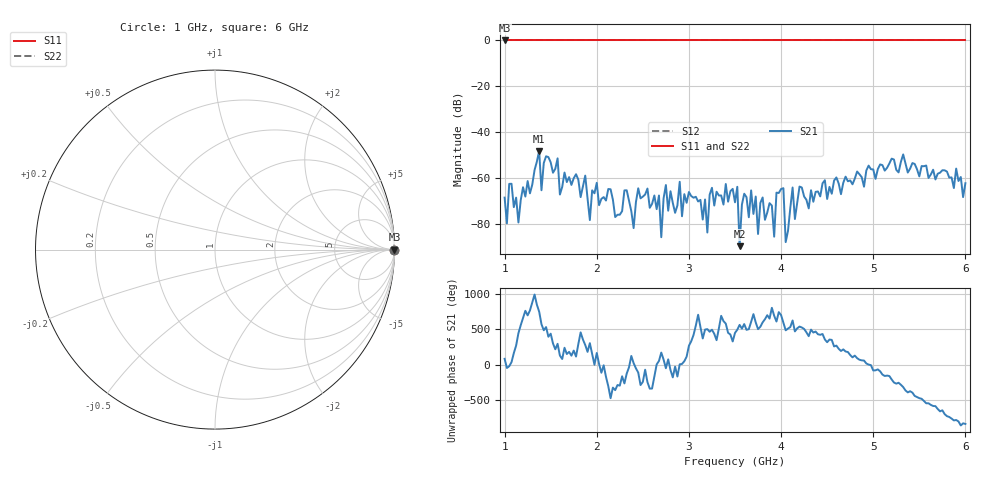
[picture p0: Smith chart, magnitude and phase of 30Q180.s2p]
!Keysight Technologies N9926A: A.08.19
!Date: Sunday, 01 March 2026 14:38:00
!Timezone: (GMT-06:00) Central Time (US & Canada)
!Model: N9926A
!Serial: MY53102721
!GPS Latitude:
!GPS Longitude:
!GPS TimeStamp: 0001-01-01 00:00:00Z
!GPS Seconds Since Last Read: 0
!CHECKSUM:1579449515
!Correction: S11()S21(ON U)S12()S22()
!S2P File: Measurements:S11,S21,S12,S22:
# Hz S DB R 50
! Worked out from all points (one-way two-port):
!   201 points, 1 GHz to 6 GHz, reference 50 ohm
!   highest |S21| = -48.06 dB at 1.375 GHz (marker M1); lowest = -89.5 dB at 3.55 GHz (marker M2)
!   lowest |S11| = 0.0 dB at 1 GHz (marker M3)
!   |S11| at or under -10 dB: nowhere
!   |S22| runs from 0.0 to 0.0 dB; largest |S21 - S12| = 1
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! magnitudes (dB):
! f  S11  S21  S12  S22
! 1 GHz  0.0  -68.4  0.0  0.0
! 1.15 GHz  0.0  -79.2  0.0  0.0
! 1.375 GHz  0.0  -48.1  0.0  0.0
! 1.4 GHz  0.0  -65.2  0.0  0.0
! 1.45 GHz  0.0  -50.4  0.0  0.0
! 1.85 GHz  0.0  -63.4  0.0  0.0
! 1.925 GHz  0.0  -78.2  0.0  0.0
! 2 GHz  0.0  -61.9  0.0  0.0
! 2.4 GHz  0.0  -81.6  0.0  0.0
! 2.45 GHz  0.0  -64.3  0.0  0.0
! 2.675 GHz  0.0  -67.5  0.0  0.0
! 2.7 GHz  0.0  -85.6  0.0  0.0
! 2.75 GHz  0.0  -62.9  0.0  0.0
! 3.2 GHz  0.0  -83.6  0.0  0.0
! 3.25 GHz  0.0  -64.1  0.0  0.0
! 3.5 GHz  0.0  -70.4  0.0  0.0
! 3.55 GHz  0.0  -89.5  0.0  0.0
! 3.675 GHz  0.0  -65.3  0.0  0.0
! 3.75 GHz  0.0  -84.2  0.0  0.0
! 4.35 GHz  0.0  -70.2  0.0  0.0
! 5.175 GHz  0.0  -53.5  0.0  0.0
! 6 GHz  0.0  -62.1  0.0  0.0
